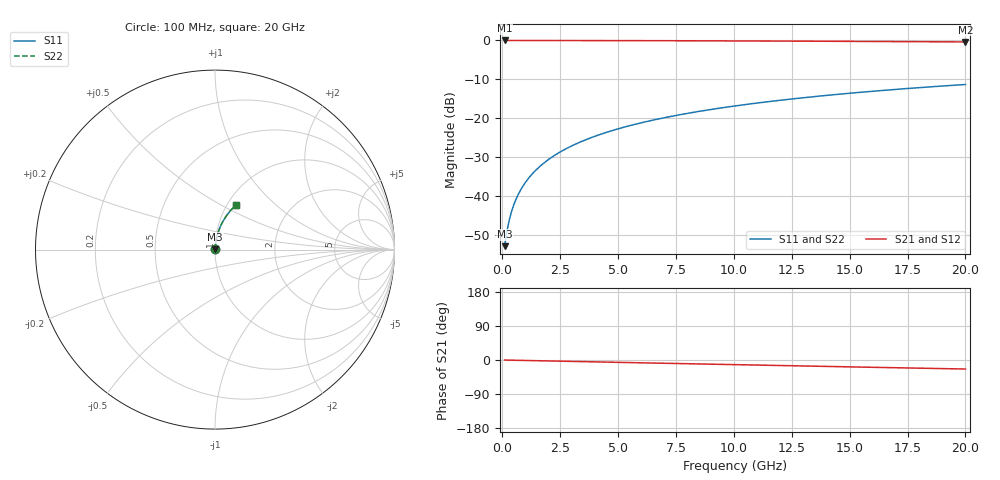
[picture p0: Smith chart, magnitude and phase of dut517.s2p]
! Touchstone file exported from HFSS 2026.1.0
!  File:  C:/ffzhzh/LocalFiles/Ansys_Project_Files/temp_train_TMRDL_517_1783007042_51716.aedt
!  Generated:  11:45:31 PM Jul  2, 2026
!  Design:  TMRDL
!  Project:  temp_train_TMRDL_517_1783007042_51716
! Variables:
!  h_bsmrdl = 2um
!  h_ox = 20um
!  h_rdl = 5um
!  h_sub = 80um
!  h_tmrdl = 3.47um
!  h_tsv = 80um
!  h_via = 3um
!  l_bsmrdl = 300um
!  l_sub = 678.93um
!  l_tmrdl = 278.93um
!  m_sub = 200um
!  pitch = 54.69um
!  r_tsv = 6um
!  s_tmrdl = 10um
!  w_bsmrdl = 18um
!  w_sub = 500um
!  w_tmrdl = 19.24um
!  x_tsv_center1 = 288.55um
!  x_tsv_center2 = 606.55um
!  x_tsv_center3 = 904.72um
!  x_tsv_center4 = 1222.72um
!  x_tsv_center5 = 1520.89um
!  x_tsv_center6 = 1838.89um
# GHz S MA R 50.000000
! Terminal data exported
! Port[1] = TM_RDL1_1_T1
! Port[2] = TM_RDL1_1_T2
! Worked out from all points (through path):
!   200 points, 100 MHz to 20 GHz, reference 50 ohm
!   highest |S21| = -0.01 dB at 100 MHz (marker M1); lowest = -0.4 dB at 20 GHz (marker M2)
!   group delay of S21, straight-line fit = 3.31 ps
!   lowest |S11| = -52.8 dB at 100 MHz (marker M3), VSWR 1.00, Z = 50.2 + j0.157 ohm
!   |S11| at or under -10 dB: start of sweep to end of sweep
!   |S22| runs from -52.8 to -11.3 dB; largest |S21 - S12| = 3.1e-15
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0.1  0.002297 43.0  0.9983 -0.1  0.9983 -0.1  0.002297 43.0
! Gamma 0 0 0 0
! Port Impedance 50 0 50 0
0.2  0.003563 60.7  0.9983 -0.3  0.9983 -0.3  0.003563 60.7
0.3  0.004966 68.5  0.9982 -0.4  0.9982 -0.4  0.004966 68.5
0.4  0.006399 72.7  0.9981 -0.5  0.9981 -0.5  0.006399 72.7
0.5  0.007839 75.4  0.9981 -0.6  0.9981 -0.6  0.007839 75.4
0.6  0.009283 77.2  0.998 -0.8  0.998 -0.8  0.009283 77.2
0.8  0.01218 79.6  0.9979 -1.0  0.9979 -1.0  0.01218 79.6
1.1  0.01656 81.5  0.9978 -1.4  0.9978 -1.4  0.01656 81.5
1.5  0.02241 82.7  0.9976 -1.9  0.9976 -1.9  0.02241 82.7
1.8  0.02682 83.1  0.9975 -2.3  0.9975 -2.3  0.02682 83.1
2.1  0.03122 83.3  0.9973 -2.6  0.9973 -2.6  0.03122 83.3
2.7  0.04002 83.3  0.9969 -3.4  0.9969 -3.4  0.04002 83.3
3.5  0.05171 82.8  0.9961 -4.4  0.9961 -4.4  0.05171 82.8
4.2  0.06188 82.3  0.9954 -5.2  0.9954 -5.2  0.06188 82.3
5  0.07344 81.5  0.9944 -6.2  0.9944 -6.2  0.07344 81.5
5.9  0.08635 80.6  0.9931 -7.3  0.9931 -7.3  0.08635 80.6
6.8  0.09914 79.6  0.9916 -8.4  0.9916 -8.4  0.09914 79.6
8.3  0.1202 77.9  0.9888 -10.2  0.9888 -10.2  0.1202 77.9
10.1  0.145 75.9  0.985 -12.4  0.985 -12.4  0.145 75.9
13.4  0.1892 72.2  0.9767 -16.3  0.9767 -16.3  0.1892 72.1
16.7  0.2317 68.5  0.967 -20.1  0.967 -20.1  0.2317 68.5
20  0.272 64.8  0.956 -23.8  0.956 -23.8  0.2721 64.8
